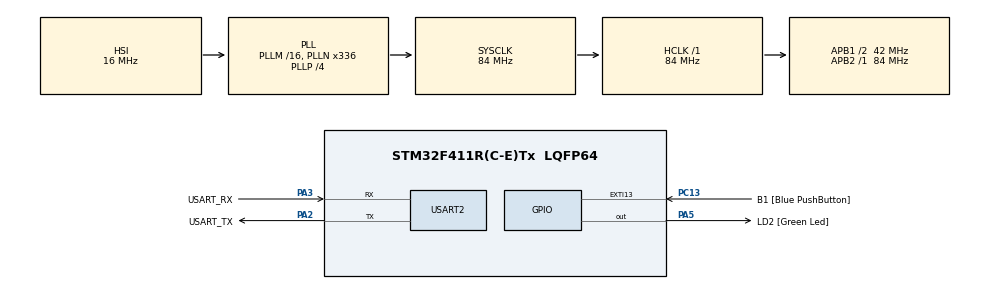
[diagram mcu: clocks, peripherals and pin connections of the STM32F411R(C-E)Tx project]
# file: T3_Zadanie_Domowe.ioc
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Dma.Request0=USART2_RX
Dma.Request1=USART2_TX
Dma.USART2_RX.0.Direction=DMA_PERIPH_TO_MEMORY
Dma.USART2_RX.0.FIFOMode=DMA_FIFOMODE_DISABLE
Dma.USART2_RX.0.Instance=DMA1_Stream5
Dma.USART2_RX.0.MemDataAlignment=DMA_MDATAALIGN_BYTE
Dma.USART2_RX.0.MemInc=DMA_MINC_ENABLE
Dma.USART2_RX.0.Mode=DMA_NORMAL
Dma.USART2_RX.0.PeriphDataAlignment=DMA_PDATAALIGN_BYTE
Dma.USART2_RX.0.PeriphInc=DMA_PINC_DISABLE
Dma.USART2_RX.0.Priority=DMA_PRIORITY_LOW
Dma.USART2_TX.1.Direction=DMA_MEMORY_TO_PERIPH
Dma.USART2_TX.1.FIFOMode=DMA_FIFOMODE_DISABLE
Dma.USART2_TX.1.Instance=DMA1_Stream6
Dma.USART2_TX.1.MemDataAlignment=DMA_MDATAALIGN_BYTE
Dma.USART2_TX.1.MemInc=DMA_MINC_ENABLE
Dma.USART2_TX.1.Mode=DMA_NORMAL
Dma.USART2_TX.1.PeriphDataAlignment=DMA_PDATAALIGN_BYTE
Dma.USART2_TX.1.PeriphInc=DMA_PINC_DISABLE
Dma.USART2_TX.1.Priority=DMA_PRIORITY_LOW
Mcu.Family=STM32F4
Mcu.Name=STM32F411R(C-E)Tx
Mcu.Package=LQFP64
NVIC.DMA1_Stream5_IRQn=true\:0\:0\:false\:true\:true\:1\:false\:true\:true
NVIC.DMA1_Stream6_IRQn=true\:0\:0\:false\:true\:true\:2\:false\:true\:true
NVIC.EXTI15_10_IRQn=true\:0\:0\:false\:true\:true\:4\:true\:true\:true
NVIC.PriorityGroup=NVIC_PRIORITYGROUP_0
NVIC.USART2_IRQn=true\:0\:0\:false\:true\:true\:3\:true\:true\:true
PA13.GPIO_Label=TMS
PA13.Mode=Serial_Wire
PA13.Signal=SYS_JTMS-SWDIO
PA14.GPIO_Label=TCK
PA14.Mode=Serial_Wire
PA14.Signal=SYS_JTCK-SWCLK
PA2.GPIO_Label=USART_TX
PA2.Mode=Asynchronous
PA2.Signal=USART2_TX
PA3.GPIO_Label=USART_RX
PA3.Mode=Asynchronous
PA3.Signal=USART2_RX
PA5.GPIO_Label=LD2 [Green Led]
PA5.Signal=GPIO_Output
PB3.GPIO_Label=SWO
PB3.Signal=SYS_JTDO-SWO
PC13-ANTI_TAMP.GPIO_Label=B1 [Blue PushButton]
PC13-ANTI_TAMP.GPIO_ModeDefaultEXTI=GPIO_MODE_IT_FALLING
PC13-ANTI_TAMP.Signal=GPXTI13
PC14-OSC32_IN.Mode=LSE-External-Oscillator
PC14-OSC32_IN.Signal=RCC_OSC32_IN
PC15-OSC32_OUT.Mode=LSE-External-Oscillator
PC15-OSC32_OUT.Signal=RCC_OSC32_OUT
PH0\ -\ OSC_IN.Mode=HSE-External-Clock-Source
PH0\ -\ OSC_IN.Signal=RCC_OSC_IN
PH1\ -\ OSC_OUT.Mode=HSE-External-Clock-Source
PH1\ -\ OSC_OUT.Signal=RCC_OSC_OUT
ProjectManager.HeapSize=0x200
ProjectManager.StackSize=0x400
ProjectManager.TargetToolchain=STM32CubeIDE
RCC.48MHZClocksFreq_Value=84000000
RCC.AHBFreq_Value=84000000
RCC.APB1CLKDivider=RCC_HCLK_DIV2
RCC.APB1Freq_Value=42000000
RCC.APB1TimFreq_Value=84000000
RCC.APB2Freq_Value=84000000
RCC.APB2TimFreq_Value=84000000
RCC.CortexFreq_Value=84000000
RCC.FLatency-AdvancedSettings=FLASH_LATENCY_2
RCC.HCLKFreq_Value=84000000
RCC.HSE_VALUE=8000000
RCC.HSI_VALUE=16000000
RCC.PLLN=336
RCC.PLLP=RCC_PLLP_DIV4
RCC.SYSCLKFreq_VALUE=84000000
RCC.SYSCLKSource=RCC_SYSCLKSOURCE_PLLCLK
RCC.VCOOutputFreq_Value=336000000
USART2.VirtualMode=VM_ASYNC
board=NUCLEO-F411RE

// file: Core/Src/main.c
/* USER CODE BEGIN Header */
/**
  ******************************************************************************
  * @file           : main.c
  * @brief          : Main program body
  ******************************************************************************
  * @attention
  *
  * Copyright (c) 2022 STMicroelectronics.
  * All rights reserved.
  *
  * This software is licensed under terms that can be found in the LICENSE file
  * in the root directory of this software component.
  * If no LICENSE file comes with this software, it is provided AS-IS.
  *
  ******************************************************************************
  */
/* USER CODE END Header */
#include "main.h"
#include "dma.h"
#include "usart.h"
#include "gpio.h"

/* USER CODE BEGIN Includes */
#include "stdio.h"
#include "ring_buffer.h"
#include "parser_comlex.h"
/* USER CODE END Includes */

/* USER CODE BEGIN PV */
uint8_t Message[32]; // Message to transfer by UART
uint8_t Length; // Message length
uint8_t LEDStatus;

RingBuffer_t ReceiveBuffer;
uint8_t ReceiveTmp;
uint8_t ReceivedLines;

uint8_t ReceivedData[32];
/* USER CODE END PV */

void SystemClock_Config(void);
static void MX_NVIC_Init(void);

int main(void)
{

  /* MCU Configuration--------------------------------------------------------*/

  /* Reset of all peripherals, Initializes the Flash interface and the Systick. */
  HAL_Init();

  /* Configure the system clock */
  SystemClock_Config();

  /* Initialize all configured peripherals */
  MX_GPIO_Init();
  MX_DMA_Init();
  MX_USART2_UART_Init();

  /* Initialize interrupts */
  MX_NVIC_Init();
  /* USER CODE BEGIN 2 */
  HAL_UART_Receive_IT(&huart2, &ReceiveTmp, 1);

  Length = sprintf((char*)Message, "Program started\r\n");
  HAL_UART_Transmit_DMA(&huart2, Message, Length);
  /* USER CODE END 2 */

  /* Infinite loop */
  /* USER CODE BEGIN WHILE */
  while (1)
  {
	  if(ReceivedLines > 0)
	  {

		  Parser_TakeLine(&ReceiveBuffer, ReceivedData);
		  ReceivedLines--;

		  Parser_Parse(ReceivedData, &LEDStatus);

	  }
    /* USER CODE END WHILE */

  }
}

void SystemClock_Config(void)
{
  RCC_OscInitTypeDef RCC_OscInitStruct = {0};
  RCC_ClkInitTypeDef RCC_ClkInitStruct = {0};

  /** Configure the main internal regulator output voltage
  */
  __HAL_RCC_PWR_CLK_ENABLE();
  __HAL_PWR_VOLTAGESCALING_CONFIG(PWR_REGULATOR_VOLTAGE_SCALE1);

  /** Initializes the RCC Oscillators according to the specified parameters
  * in the RCC_OscInitTypeDef structure.
  */
  RCC_OscInitStruct.OscillatorType = RCC_OSCILLATORTYPE_HSI;
  RCC_OscInitStruct.HSIState = RCC_HSI_ON;
  RCC_OscInitStruct.HSICalibrationValue = RCC_HSICALIBRATION_DEFAULT;
  RCC_OscInitStruct.PLL.PLLState = RCC_PLL_ON;
  RCC_OscInitStruct.PLL.PLLSource = RCC_PLLSOURCE_HSI;
  RCC_OscInitStruct.PLL.PLLM = 16;
  RCC_OscInitStruct.PLL.PLLN = 336;
  RCC_OscInitStruct.PLL.PLLP = RCC_PLLP_DIV4;
  RCC_OscInitStruct.PLL.PLLQ = 4;
  if (HAL_RCC_OscConfig(&RCC_OscInitStruct) != HAL_OK)
  {
    Error_Handler();
  }

  /** Initializes the CPU, AHB and APB buses clocks
  */
  RCC_ClkInitStruct.ClockType = RCC_CLOCKTYPE_HCLK|RCC_CLOCKTYPE_SYSCLK
                              |RCC_CLOCKTYPE_PCLK1|RCC_CLOCKTYPE_PCLK2;
  RCC_ClkInitStruct.SYSCLKSource = RCC_SYSCLKSOURCE_PLLCLK;
  RCC_ClkInitStruct.AHBCLKDivider = RCC_SYSCLK_DIV1;
  RCC_ClkInitStruct.APB1CLKDivider = RCC_HCLK_DIV2;
  RCC_ClkInitStruct.APB2CLKDivider = RCC_HCLK_DIV1;

  if (HAL_RCC_ClockConfig(&RCC_ClkInitStruct, FLASH_LATENCY_2) != HAL_OK)
  {
    Error_Handler();
  }
}

/**
  * @brief NVIC Configuration.
  * @retval None
  */
static void MX_NVIC_Init(void)
{
  /* DMA1_Stream5_IRQn interrupt configuration */
  HAL_NVIC_SetPriority(DMA1_Stream5_IRQn, 0, 0);
  HAL_NVIC_EnableIRQ(DMA1_Stream5_IRQn);
  /* DMA1_Stream6_IRQn interrupt configuration */
  HAL_NVIC_SetPriority(DMA1_Stream6_IRQn, 0, 0);
  HAL_NVIC_EnableIRQ(DMA1_Stream6_IRQn);
  /* USART2_IRQn interrupt configuration */
  HAL_NVIC_SetPriority(USART2_IRQn, 0, 0);
  HAL_NVIC_EnableIRQ(USART2_IRQn);
  /* EXTI15_10_IRQn interrupt configuration */
  HAL_NVIC_SetPriority(EXTI15_10_IRQn, 0, 0);
  HAL_NVIC_EnableIRQ(EXTI15_10_IRQn);
}

/* USER CODE BEGIN 4 */
void HAL_GPIO_EXTI_Callback(uint16_t GPIO_Pin)
{
	if(GPIO_Pin == B1_Pin)
	{
		if(LEDStatus == 0)
		{
		  HAL_GPIO_WritePin(LD2_GPIO_Port, LD2_Pin, GPIO_PIN_SET);

		  Length = sprintf((char*)Message, "LED ON\r\n");
		  HAL_UART_Transmit_DMA(&huart2, Message, Length);

		  LEDStatus = 1;
		}
		else if(LEDStatus == 1)
		{
		  HAL_GPIO_WritePin(LD2_GPIO_Port, LD2_Pin, GPIO_PIN_RESET);

		  Length = sprintf((char*)Message, "LED OFF\r\n");
		  HAL_UART_Transmit_DMA(&huart2, Message, Length);

		  LEDStatus = 0;
		}

	}
}

void HAL_UART_RxCpltCallback(UART_HandleTypeDef *huart)
{
	if(huart->Instance == USART2)
	{
		if(RB_OK == RB_Write(&ReceiveBuffer, ReceiveTmp))
		{
			if(ReceiveTmp == ENDLINE)
			{
				ReceivedLines++;
			}
		}
		HAL_UART_Receive_IT(&huart2, &ReceiveTmp, 1);
	}
}

/* USER CODE END 4 */

void Error_Handler(void)
{
  __disable_irq();
  while (1)
  {
  }
}
